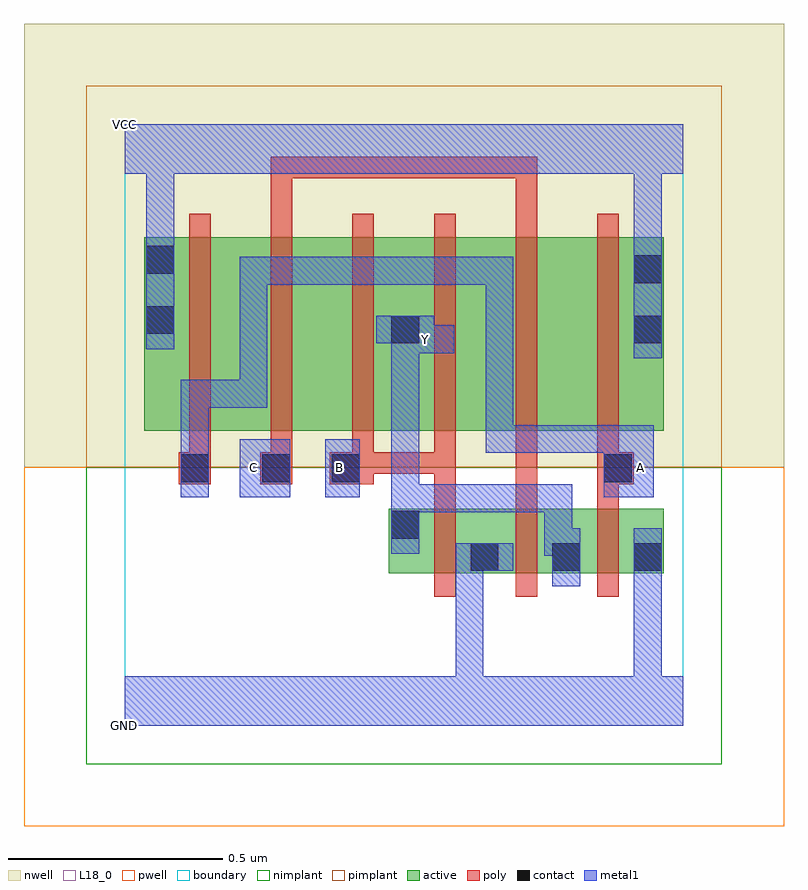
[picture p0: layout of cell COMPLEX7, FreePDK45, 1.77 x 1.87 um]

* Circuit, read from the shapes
.subckt COMPLEX7 A B C GND VCC Y
M1 GND B Y VSUBS nfet w=0.15u l=0.05u
M2 Y C GND VSUBS nfet w=0.15u l=0.05u
M3 GND A Y VSUBS nfet w=0.15u l=0.05u
M4 n1 A VCC n2 pfet w=0.45u l=0.05u
M5 n3 C n1 n2 pfet w=0.45u l=0.05u
M6 Y B n3 n2 pfet w=0.45u l=0.05u
M7 n4 B Y n2 pfet w=0.45u l=0.05u
M8 n5 C n4 n2 pfet w=0.45u l=0.05u
M9 VCC A n5 n2 pfet w=0.45u l=0.05u
.ends

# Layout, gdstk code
import gdstk
lib = gdstk.Library(unit=1e-6, precision=1e-09)
def R(c, l, rs):  # rectangles x0, y0, x1, y1
    for r in rs: c.add(gdstk.rectangle(r[:2], r[2:], *l))
def A(c, l, x, y, w, h, nx, ny, dx, dy):  # array of equal rectangles
    R(c, l, [(x+i*dx, y+j*dy, x+i*dx+w, y+j*dy+h) for i in range(nx) for j in range(ny)])
active = (1, 0)
pwell = (2, 0)
nwell = (3, 0)
nimplant = (4, 0)
pimplant = (5, 0)
poly = (9, 0)
contact = (10, 0)
metal1 = (11, 0)
L18_0 = (18, 0)
boundary = (235, 0)

complex7 = lib.new_cell('COMPLEX7')
R(complex7, active, [(0.615,0.355,0.69,0.505), (0.615,0.355,0.875,0.505), (0.8,0.355,0.875,0.505), (0.8,0.355,1.065,0.505), (0.99,0.355,1.255,0.505), (0.99,0.355,1.065,0.43), (1.18,0.355,1.255,0.505), (0.045,0.687,0.12,1.137), (0.045,0.687,0.27,1.137), (0.27,0.687,0.46,1.137), (0.46,0.687,0.69,1.137), (0.615,0.687,0.84,1.137), (0.615,0.687,0.69,1.07), (0.84,0.687,1.03,1.137), (1.03,0.687,1.255,1.137), (1.18,0.687,1.255,1.137)])
R(complex7, pwell, [(-0.235,-0.235,1.535,0.602)])
R(complex7, nwell, [(-0.235,0.602,1.535,1.635)])
R(complex7, nimplant, [(-0.09,-0.09,1.39,0.602)])
R(complex7, pimplant, [(-0.09,0.602,1.39,1.49)])
A(complex7, poly, 0.72, 0.3, 0.05, 0.26, 3, 1, 0.19, 0)
A(complex7, poly, 0.15, 0.587, 0.05, 0.095, 6, 1, 0.19, 0)
A(complex7, poly, 0.15, 0.632, 0.05, 0.56, 6, 1, 0.19, 0)
R(complex7, poly, [(0.72,0.51,0.77,0.637), (0.91,0.51,0.96,0.637), (1.1,0.51,1.15,0.612), (0.125,0.562,0.2,0.637), (0.315,0.562,0.39,0.637), (0.477,0.562,0.58,0.637), (1.1,0.562,1.185,0.637), (0.53,0.587,0.77,0.637), (0.72,0.587,0.77,0.637), (0.72,0.587,0.77,0.637), (0.72,0.587,0.77,0.637), (0.91,0.587,0.96,0.637), (0.34,1.142,0.39,1.325), (0.91,1.142,0.96,1.325), (0.34,1.275,0.39,1.325), (0.34,1.275,0.637,1.325), (0.587,1.275,0.637,1.325), (0.587,1.275,0.637,1.325), (0.587,1.275,0.637,1.325), (0.587,1.275,0.827,1.325), (0.777,1.275,0.827,1.325), (0.777,1.275,0.827,1.325), (0.777,1.275,0.827,1.325), (0.777,1.275,0.96,1.325), (0.91,1.275,0.96,1.325), (0.91,1.275,0.96,1.325), (0.91,1.275,0.96,1.325)])
A(complex7, contact, 0.805, 0.36, 0.065, 0.065, 3, 1, 0.19, 0)
R(complex7, contact, [(0.62,0.435,0.685,0.5), (0.13,0.567,0.195,0.632), (0.32,0.567,0.385,0.632), (0.482,0.567,0.547,0.632), (1.115,0.567,1.18,0.632), (0.62,0.89,0.685,0.955), (1.185,0.89,1.25,0.955), (0.05,0.912,0.115,0.977), (1.185,1.03,1.25,1.095), (0.05,1.052,0.115,1.117)])
R(complex7, metal1, [(0,0,1.3,0.115), (0.77,0.05,0.835,0.115), (0.77,0.05,0.835,0.115), (0.77,0.05,0.835,0.115), (0.77,0.05,0.835,0.115), (0.77,0.05,0.835,0.425), (1.185,0.05,1.25,0.115), (1.185,0.05,1.25,0.115), (1.185,0.05,1.25,0.115), (1.185,0.05,1.25,0.115), (1.185,0.05,1.25,0.39), (0.995,0.325,1.06,0.46), (1.185,0.325,1.25,0.46), (0.77,0.36,0.905,0.425), (0.977,0.395,1.06,0.46), (0.977,0.395,1.042,0.562), (0.62,0.4,0.685,0.535), (0.62,0.47,0.685,0.535), (0.62,0.47,0.685,0.562), (0.62,0.47,0.685,0.932), (0.62,0.497,0.905,0.562), (0.84,0.497,0.905,0.562), (0.84,0.497,1.042,0.562), (0.13,0.532,0.195,0.667), (0.267,0.532,0.385,0.667), (0.467,0.532,0.547,0.667), (1.115,0.532,1.232,0.7), (0.13,0.602,0.195,0.667), (0.13,0.602,0.195,0.667), (0.13,0.602,0.195,0.805), (0.84,0.635,0.905,0.7), (0.84,0.635,0.905,0.7), (0.84,0.635,0.905,0.7), (0.84,0.635,1.042,0.7), (0.84,0.635,0.905,1.092), (0.977,0.635,1.042,0.7), (0.977,0.635,1.18,0.7), (0.13,0.74,0.195,0.805), (0.13,0.74,0.332,0.805), (0.267,0.74,0.332,0.805), (0.267,0.74,0.332,0.805), (0.267,0.74,0.332,0.805), (0.267,0.74,0.332,1.092), (1.185,0.855,1.25,1.13), (0.62,0.867,0.685,0.955), (0.62,0.867,0.767,0.932), (0.05,0.877,0.115,1.152), (0.585,0.89,0.72,0.955), (0.267,1.027,0.332,1.092), (0.267,1.027,0.47,1.092), (0.405,1.027,0.47,1.092), (0.405,1.027,0.697,1.092), (0.632,1.027,0.697,1.092), (0.632,1.027,0.697,1.092), (0.632,1.027,0.697,1.092), (0.632,1.027,0.905,1.092), (0.84,1.027,0.905,1.092), (0.84,1.027,0.905,1.092), (0.84,1.027,0.905,1.092), (1.185,1.065,1.25,1.35), (0.05,1.087,0.115,1.35), (0,1.285,1.3,1.4), (0.05,1.285,0.115,1.35), (0.05,1.285,0.115,1.35), (1.185,1.285,1.25,1.35), (1.185,1.285,1.25,1.35)])
R(complex7, L18_0, [(0,0,1.3,0.115), (0.77,0.05,0.835,0.115), (0.77,0.05,0.835,0.115), (0.77,0.05,0.835,0.115), (0.77,0.05,0.835,0.115), (0.77,0.05,0.835,0.425), (1.185,0.05,1.25,0.115), (1.185,0.05,1.25,0.115), (1.185,0.05,1.25,0.115), (1.185,0.05,1.25,0.115), (1.185,0.05,1.25,0.39), (0.995,0.325,1.06,0.46), (1.185,0.325,1.25,0.46), (0.77,0.36,0.905,0.425), (0.977,0.395,1.042,0.562), (0.977,0.395,1.06,0.46), (0.62,0.4,0.685,0.535), (0.62,0.47,0.685,0.535), (0.62,0.47,0.685,0.932), (0.62,0.47,0.685,0.562), (0.62,0.497,0.905,0.562), (0.84,0.497,0.905,0.562), (0.84,0.497,1.042,0.562), (0.13,0.532,0.195,0.667), (0.267,0.532,0.385,0.667), (0.467,0.532,0.547,0.667), (1.115,0.532,1.232,0.7), (0.267,0.567,0.332,0.632), (0.467,0.567,0.532,0.632), (1.167,0.567,1.232,0.632), (0.13,0.602,0.195,0.667), (0.13,0.602,0.195,0.667), (0.13,0.602,0.195,0.805), (0.84,0.635,0.905,0.7), (0.84,0.635,0.905,0.7), (0.84,0.635,0.905,0.7), (0.84,0.635,1.042,0.7), (0.84,0.635,0.905,1.092), (0.977,0.635,1.042,0.7), (0.977,0.635,1.18,0.7), (0.13,0.74,0.195,0.805), (0.13,0.74,0.332,0.805), (0.267,0.74,0.332,0.805), (0.267,0.74,0.332,0.805), (0.267,0.74,0.332,0.805), (0.267,0.74,0.332,1.092), (1.185,0.855,1.25,1.13), (0.62,0.867,0.767,0.932), (0.62,0.867,0.685,0.955), (0.667,0.867,0.732,0.932), (0.05,0.877,0.115,1.152), (0.585,0.89,0.72,0.955), (0.267,1.027,0.332,1.092), (0.267,1.027,0.47,1.092), (0.405,1.027,0.47,1.092), (0.405,1.027,0.697,1.092), (0.632,1.027,0.697,1.092), (0.632,1.027,0.697,1.092), (0.632,1.027,0.697,1.092), (0.632,1.027,0.905,1.092), (0.84,1.027,0.905,1.092), (0.84,1.027,0.905,1.092), (0.84,1.027,0.905,1.092), (1.185,1.065,1.25,1.35), (0.05,1.087,0.115,1.35), (0,1.285,1.3,1.4), (0.05,1.285,0.115,1.35), (0.05,1.285,0.115,1.35), (1.185,1.285,1.25,1.35), (1.185,1.285,1.25,1.35)])
R(complex7, boundary, [(0,0,1.3,1.4)])
complex7.add(gdstk.Label('A', (1.2,0.6), layer=11, texttype=0))
complex7.add(gdstk.Label('B', (0.5,0.6), layer=11, texttype=0))
complex7.add(gdstk.Label('C', (0.3,0.6), layer=11, texttype=0))
complex7.add(gdstk.Label('Y', (0.7,0.9), layer=11, texttype=0))
complex7.add(gdstk.Label('VCC', (0,1.4), layer=11, texttype=0))
complex7.add(gdstk.Label('GND', (0,0), layer=11, texttype=0))

lib.write_gds('COMPLEX7.gds')
